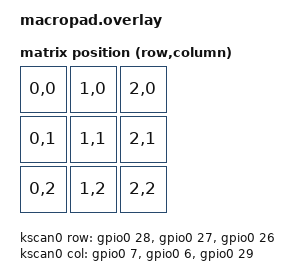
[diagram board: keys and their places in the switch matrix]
#include <dt-bindings/zmk/matrix_transform.h>

/ {
    chosen {
        zmk,kscan = &kscan0;
        zmk,matrix_transform = &default_transform;
    };

    default_transform: keymap_transform_0 {
        compatible = "zmk,matrix-transform";
        columns = <3>;
        rows = <3>;
        map = <
        RC(0, 0) RC(1, 0) RC(2, 0)
        RC(0, 1) RC(1, 1) RC(2, 1)
        RC(0, 2) RC(1, 2) RC(2, 2)
        >;
    };
    kscan0: kscan_0 {
        compatible = "zmk,kscan-gpio-matrix";
        label = "KSCAN";
        diode-direction = "col2row";

        col-gpios
            = <&gpio0 7 GPIO_ACTIVE_HIGH>
            , <&gpio0 6 GPIO_ACTIVE_HIGH>
            , <&gpio0 29 GPIO_ACTIVE_HIGH>
            ;

        row-gpios
            = <&gpio0 28 (GPIO_ACTIVE_HIGH | GPIO_PULL_DOWN)>
            , <&gpio0 27 (GPIO_ACTIVE_HIGH | GPIO_PULL_DOWN)>
            , <&gpio0 26 (GPIO_ACTIVE_HIGH | GPIO_PULL_DOWN)>
            ;
    };
};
